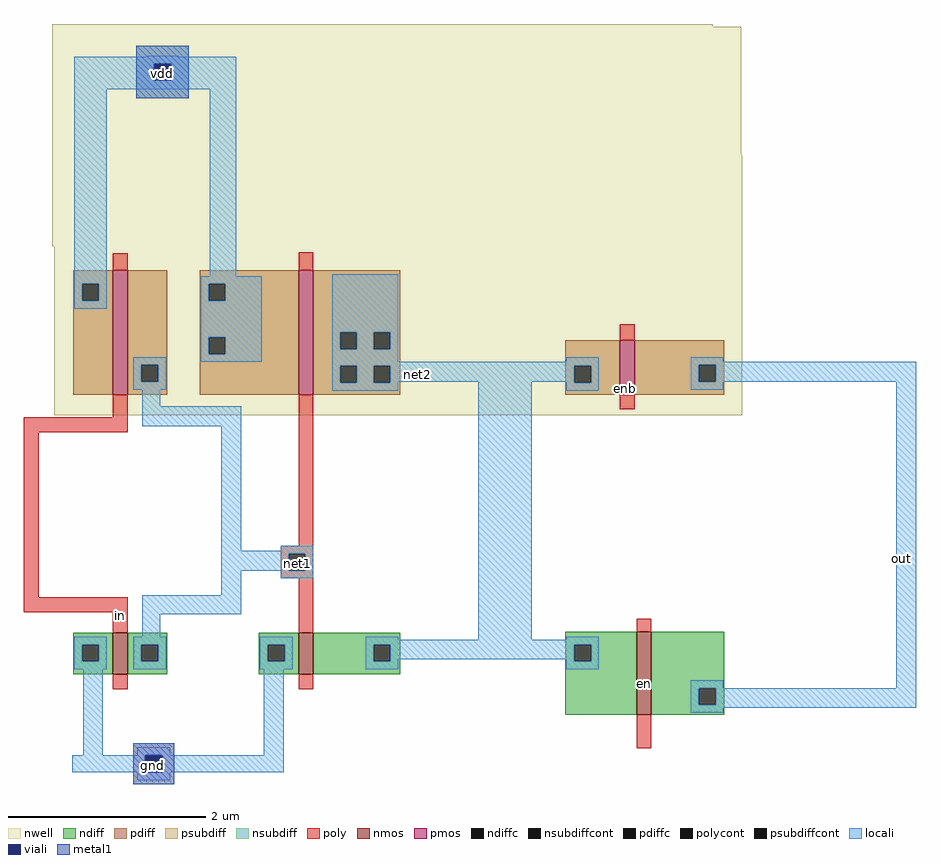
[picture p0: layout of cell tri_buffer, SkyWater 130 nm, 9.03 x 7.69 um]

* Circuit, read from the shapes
.subckt tri_buffer out enb gnd in vdd en
XM1 net1 in gnd gnd sky130_fd_pr__nfet_01v8 w=0.42 l=0.15
XM2 net2 net1 gnd gnd sky130_fd_pr__nfet_01v8 w=0.42 l=0.15
XM3 out en net2 gnd sky130_fd_pr__nfet_01v8 w=0.84 l=0.15
XM4 net1 in vdd vdd sky130_fd_pr__pfet_01v8 w=1.26 l=0.15
XM5 net2 net1 vdd vdd sky130_fd_pr__pfet_01v8 w=1.26 l=0.15
XM6 out enb net2 vdd sky130_fd_pr__pfet_01v8 w=0.55 l=0.15
.ends

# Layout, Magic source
magic
tech sky130A
<< nwell >>
rect -31 680 637 683
rect -31 550 666 680
rect -31 458 667 550
rect -29 287 667 458
<< nmos >>
rect 30 25 45 67
rect 218 25 233 67
rect 560 -16 575 68
<< pmos >>
rect 30 308 45 434
rect 218 308 233 434
rect 543 308 558 363
<< ndiff >>
rect -10 55 30 67
rect -10 38 -1 55
rect 16 38 30 55
rect -10 25 30 38
rect 45 55 85 67
rect 45 38 59 55
rect 76 38 85 55
rect 45 25 85 38
rect 178 55 218 67
rect 178 38 187 55
rect 204 38 218 55
rect 178 25 218 38
rect 233 55 321 67
rect 233 38 294 55
rect 311 38 321 55
rect 233 25 321 38
rect 488 55 560 68
rect 488 38 497 55
rect 514 38 560 55
rect 488 -16 560 38
rect 575 11 649 68
rect 575 -6 623 11
rect 640 -6 649 11
rect 575 -16 649 -6
<< pdiff >>
rect -10 420 30 434
rect -10 403 -1 420
rect 16 403 30 420
rect -10 308 30 403
rect 45 338 85 434
rect 45 321 59 338
rect 76 321 85 338
rect 45 308 85 321
rect 118 420 218 434
rect 118 403 127 420
rect 144 403 218 420
rect 118 366 218 403
rect 118 349 127 366
rect 144 349 218 366
rect 118 308 218 349
rect 233 371 321 434
rect 233 354 260 371
rect 277 354 294 371
rect 311 354 321 371
rect 233 337 321 354
rect 233 320 260 337
rect 277 320 294 337
rect 311 320 321 337
rect 233 308 321 320
rect 488 337 543 363
rect 488 320 497 337
rect 514 320 543 337
rect 488 308 543 320
rect 558 338 649 363
rect 558 321 623 338
rect 640 321 649 338
rect 558 308 649 321
<< ndiffc >>
rect -1 38 16 55
rect 59 38 76 55
rect 187 38 204 55
rect 294 38 311 55
rect 497 38 514 55
rect 623 -6 640 11
<< pdiffc >>
rect -1 403 16 420
rect 59 321 76 338
rect 127 403 144 420
rect 127 349 144 366
rect 260 354 277 371
rect 294 354 311 371
rect 260 320 277 337
rect 294 320 311 337
rect 497 320 514 337
rect 623 321 640 338
<< psubdiff >>
rect 51 -57 92 -45
rect 51 -74 63 -57
rect 80 -74 92 -57
rect 51 -86 92 -74
<< nsubdiff >>
rect 54 643 107 661
rect 54 626 72 643
rect 89 626 107 643
rect 54 608 107 626
<< psubdiffcont >>
rect 63 -74 80 -57
<< nsubdiffcont >>
rect 72 626 89 643
<< poly >>
rect 30 434 45 451
rect 218 434 233 452
rect 543 363 558 379
rect 30 285 45 308
rect -60 270 45 285
rect -60 103 -45 270
rect 218 155 233 308
rect 543 293 558 308
rect 200 147 233 155
rect 200 130 208 147
rect 225 130 233 147
rect 200 122 233 130
rect -60 88 45 103
rect 30 67 45 88
rect 218 67 233 122
rect 560 68 575 81
rect 30 10 45 25
rect 218 10 233 25
rect 560 -50 575 -16
<< polycont >>
rect 208 130 225 147
<< locali >>
rect 64 650 97 651
rect -9 643 155 650
rect -9 626 72 643
rect 89 626 155 643
rect -9 617 155 626
rect -9 420 24 617
rect 128 428 155 617
rect -9 403 -1 420
rect 16 403 24 420
rect -9 395 24 403
rect 119 420 181 428
rect 119 403 127 420
rect 144 403 181 420
rect 119 366 181 403
rect 119 349 127 366
rect 144 349 181 366
rect 51 338 84 346
rect 119 341 181 349
rect 252 371 319 430
rect 252 354 260 371
rect 277 354 294 371
rect 311 354 319 371
rect 252 341 319 354
rect 489 341 522 346
rect 51 321 59 338
rect 76 321 84 338
rect 51 313 84 321
rect 252 337 522 341
rect 252 320 260 337
rect 277 320 294 337
rect 311 321 497 337
rect 311 320 319 321
rect 60 296 78 313
rect 252 312 319 320
rect 60 276 160 296
rect 140 150 160 276
rect 200 150 233 155
rect 140 147 233 150
rect 140 130 208 147
rect 225 130 233 147
rect 140 105 160 130
rect 200 122 233 130
rect 60 86 160 105
rect 60 63 78 86
rect -9 55 24 63
rect -9 38 -1 55
rect 16 38 24 55
rect -9 30 24 38
rect 51 55 84 63
rect 51 38 59 55
rect 76 38 84 55
rect 51 30 84 38
rect 179 55 212 63
rect 179 38 187 55
rect 204 38 212 55
rect 179 30 212 38
rect 286 60 319 63
rect 400 60 454 321
rect 489 320 497 321
rect 514 320 522 337
rect 489 312 522 320
rect 615 341 648 346
rect 615 338 843 341
rect 615 321 623 338
rect 640 321 843 338
rect 615 313 648 321
rect 489 60 522 63
rect 286 55 522 60
rect 286 38 294 55
rect 311 40 497 55
rect 311 38 319 40
rect 286 30 319 38
rect 489 38 497 40
rect 514 38 522 55
rect 489 30 522 38
rect 0 -57 20 30
rect 55 -57 88 -49
rect 183 -57 203 30
rect 615 11 648 19
rect 823 11 843 321
rect 615 -6 623 11
rect 640 -6 843 11
rect 615 -9 843 -6
rect 615 -14 648 -9
rect -11 -74 63 -57
rect 80 -74 203 -57
rect 55 -82 88 -74
<< viali >>
rect 72 626 89 643
rect 63 -74 80 -57
<< metal1 >>
rect 54 643 107 661
rect 54 626 72 643
rect 89 626 107 643
rect 54 608 107 626
rect 51 -57 92 -45
rect 51 -74 63 -57
rect 80 -74 92 -57
rect 51 -86 92 -74
<< labels >>
flabel poly s 563 12 574 20 0 FreeSans 200 0 0 0 en
port 6 nsew
flabel locali s 823 136 833 149 0 FreeSans 200 0 0 0 out
port 0 nsew
flabel poly s 546 311 552 317 0 FreeSans 200 0 0 0 enb
port 1 nsew
flabel metal1 s 66 -71 75 -63 0 FreeSans 200 0 0 0 gnd
port 2 nsew
flabel locali s 211 133 222 141 0 FreeSans 200 0 0 0 net1
flabel poly s 33 80 42 90 0 FreeSans 200 0 0 0 in
port 4 nsew
flabel locali s 331 325 345 332 0 FreeSans 200 0 0 0 net2
flabel metal1 s 75 629 86 637 0 FreeSans 200 0 0 0 vdd
port 5 nsew
<< end >>
